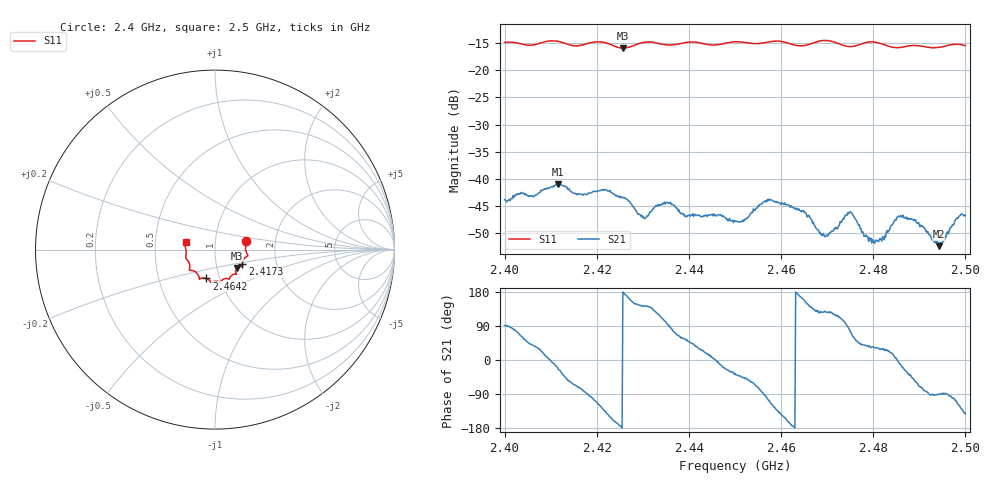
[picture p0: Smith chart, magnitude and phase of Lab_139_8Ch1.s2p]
# Hz S RI R 50
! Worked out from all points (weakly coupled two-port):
!   601 points, 2.4 GHz to 2.5 GHz, reference 50 ohm
!   highest |S21| = -40.97 dB at 2.4115 GHz (marker M1); lowest = -52.4 dB at 2.4942 GHz (marker M2)
!   lowest |S11| = -15.9 dB at 2.4257 GHz (marker M3), VSWR 1.38, Z = 62.4 - j13.1 ohm
!   |S11| at or under -10 dB: start of sweep to end of sweep
!   S12 and S22 are empty: the file has one direction only
!   S11 on the Smith chart (normalised r, x): 2.4 GHz: 1.41, +0.14; 2.4173 GHz: 1.34, -0.23; 2.4642 GHz: 0.86, -0.29; 2.5 GHz: 0.72, +0.06
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2.4e9  0.1738 0.0495  -0.000129 0.00643  0 0  0 0
2.4115e9  0.1816 -0.0357  0.00839 -0.00309  0 0  0 0
2.416667e9  0.1528 -0.0746  0.0016 -0.00702  0 0  0 0
2.417333e9  0.1523 -0.0822  0.000885 -0.00719  0 0  0 0
2.421667e9  0.153 -0.0952  -0.00546 -0.0058  0 0  0 0
2.425667e9  0.1223 -0.1026  -0.00669 4.64e-05  0 0  0 0
2.430167e9  0.118 -0.1368  -0.0035 0.00273  0 0  0 0
2.433333e9  0.1124 -0.1365  -0.00294 0.00502  0 0  0 0
2.439333e9  0.0805 -0.1611  0.00272 0.00357  0 0  0 0
2.45e9  0.0293 -0.1808  0.00331 -0.00236  0 0  0 0
2.457333e9  -0.0151 -0.1817  -0.00188 -0.00601  0 0  0 0
2.464167e9  -0.0483 -0.161  -0.00496 0.00114  0 0  0 0
2.466667e9  -0.0763 -0.1594  -0.00315 0.00274  0 0  0 0
2.469167e9  -0.0874 -0.1665  -0.00186 0.00254  0 0  0 0
2.475e9  -0.1065 -0.1262  0.00123 0.00484  0 0  0 0
2.479833e9  -0.1426 -0.114  0.00226 0.00158  0 0  0 0
2.483333e9  -0.1405 -0.0894  0.00302 0.00139  0 0  0 0
2.486e9  -0.1496 -0.0632  0.00448 -0.00104  0 0  0 0
2.489333e9  -0.163 -0.0447  0.00212 -0.00342  0 0  0 0
2.494167e9  -0.162 0.000597  -8.64e-06 -0.0024  0 0  0 0
2.498333e9  -0.1703 0.0331  -0.00193 -0.00385  0 0  0 0
2.5e9  -0.1636 0.0415  -0.00362 -0.00277  0 0  0 0
